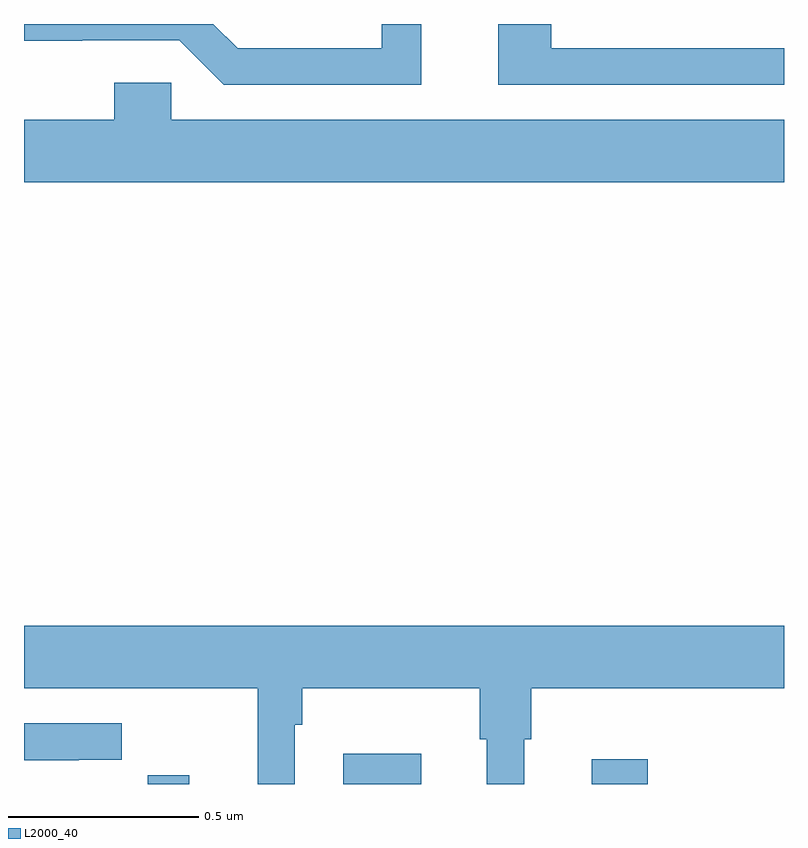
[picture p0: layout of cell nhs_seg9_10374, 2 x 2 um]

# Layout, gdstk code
import gdstk
lib = gdstk.Library(unit=1e-6, precision=1e-09)
def R(c, l, rs):  # rectangles x0, y0, x1, y1
    for r in rs: c.add(gdstk.rectangle(r[:2], r[2:], *l))
def P(c, l, *ps):  # polygons
    for p in ps: c.add(gdstk.Polygon(p, *l))
L2000_40 = (2000, 40)

nhs_seg9_10374 = lib.new_cell('nhs_seg9_10374')
R(nhs_seg9_10374, L2000_40, [(242.326,1197.5,242.435,1197.523), (242.84,1197.5,243.046,1197.58), (243.494,1197.5,243.641,1197.565)])
P(nhs_seg9_10374, L2000_40, [(243.046,1199.5),(242.942,1199.5),(242.942,1199.436),(242.562,1199.436),(242.498,1199.5),(242,1199.5),(242,1199.456),(242.153,1199.456),(242.153,1199.457),(242.409,1199.457),(242.526,1199.34),(243.046,1199.34)],
  [(244,1199.436),(243.388,1199.436),(243.388,1199.5),(243.248,1199.5),(243.248,1199.34),(244,1199.34)],
  [(244,1199.248),(242.388,1199.248),(242.388,1199.346),(242.237,1199.346),(242.237,1199.248),(242,1199.248),(242,1199.084),(244,1199.084)],
  [(242.712,1197.656),(242.732,1197.656),(242.732,1197.752),(243.199,1197.752),(243.199,1197.618),(243.218,1197.618),(243.218,1197.5),(243.316,1197.5),(243.316,1197.618),(243.335,1197.618),(243.335,1197.752),(244,1197.752),(244,1197.916),(242,1197.916),(242,1197.752),(242.615,1197.752),(242.615,1197.5),(242.712,1197.5)],
  [(242.144,1197.564),(242.257,1197.564),(242.257,1197.66),(242,1197.66),(242,1197.563),(242.144,1197.563)])

lib.write_gds('nhs_seg9_10374.gds')
